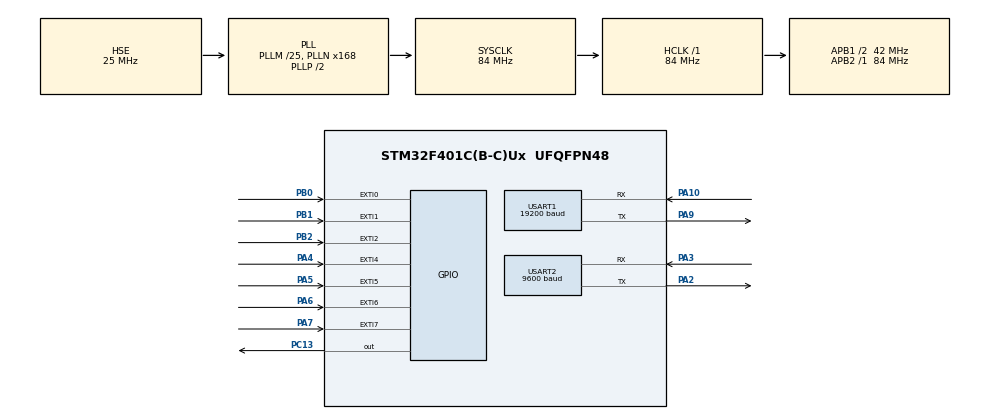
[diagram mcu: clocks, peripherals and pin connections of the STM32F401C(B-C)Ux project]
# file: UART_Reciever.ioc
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Mcu.Family=STM32F4
Mcu.Name=STM32F401C(B-C)Ux
Mcu.Package=UFQFPN48
NVIC.EXTI0_IRQn=true\:0\:0\:false\:false\:true\:true\:true\:true
NVIC.EXTI1_IRQn=true\:0\:0\:false\:false\:true\:true\:true\:true
NVIC.EXTI2_IRQn=true\:0\:0\:false\:false\:true\:true\:true\:true
NVIC.EXTI4_IRQn=true\:0\:0\:false\:false\:true\:true\:true\:true
NVIC.EXTI9_5_IRQn=true\:0\:0\:false\:false\:true\:true\:true\:true
NVIC.PriorityGroup=NVIC_PRIORITYGROUP_4
NVIC.TIM3_IRQn=true\:0\:0\:false\:false\:true\:true\:true\:true
NVIC.USART1_IRQn=true\:0\:0\:false\:false\:true\:true\:true\:true
NVIC.USART2_IRQn=true\:0\:0\:false\:false\:true\:true\:true\:true
PA10.Mode=Asynchronous
PA10.Signal=USART1_RX
PA13.Mode=Serial_Wire
PA13.Signal=SYS_JTMS-SWDIO
PA14.Mode=Serial_Wire
PA14.Signal=SYS_JTCK-SWCLK
PA2.Mode=Asynchronous
PA2.Signal=USART2_TX
PA3.Mode=Asynchronous
PA3.Signal=USART2_RX
PA4.GPIO_ModeDefaultEXTI=GPIO_MODE_IT_RISING_FALLING
PA4.GPIO_PuPd=GPIO_PULLUP
PA4.Signal=GPXTI4
PA5.GPIO_ModeDefaultEXTI=GPIO_MODE_IT_RISING_FALLING
PA5.GPIO_PuPd=GPIO_PULLUP
PA5.Signal=GPXTI5
PA6.GPIO_ModeDefaultEXTI=GPIO_MODE_IT_RISING_FALLING
PA6.GPIO_PuPd=GPIO_PULLUP
PA6.Signal=GPXTI6
PA7.GPIO_ModeDefaultEXTI=GPIO_MODE_IT_RISING_FALLING
PA7.GPIO_PuPd=GPIO_PULLUP
PA7.Signal=GPXTI7
PA9.Mode=Asynchronous
PA9.Signal=USART1_TX
PB0.GPIO_ModeDefaultEXTI=GPIO_MODE_IT_RISING_FALLING
PB0.GPIO_PuPd=GPIO_PULLUP
PB0.Signal=GPXTI0
PB1.GPIO_ModeDefaultEXTI=GPIO_MODE_IT_RISING_FALLING
PB1.GPIO_PuPd=GPIO_PULLUP
PB1.Signal=GPXTI1
PB2.GPIO_ModeDefaultEXTI=GPIO_MODE_IT_RISING_FALLING
PB2.GPIO_PuPd=GPIO_PULLUP
PB2.Signal=GPXTI2
PC13-ANTI_TAMP.Signal=GPIO_Output
PC14-OSC32_IN.Mode=LSE-External-Oscillator
PC14-OSC32_IN.Signal=RCC_OSC32_IN
PC15-OSC32_OUT.Mode=LSE-External-Oscillator
PC15-OSC32_OUT.Signal=RCC_OSC32_OUT
PH0\ -\ OSC_IN.Mode=HSE-External-Oscillator
PH0\ -\ OSC_IN.Signal=RCC_OSC_IN
PH1\ -\ OSC_OUT.Mode=HSE-External-Oscillator
PH1\ -\ OSC_OUT.Signal=RCC_OSC_OUT
ProjectManager.HeapSize=0x200
ProjectManager.StackSize=0x400
ProjectManager.TargetToolchain=STM32CubeIDE
RCC.48MHZClocksFreq_Value=42000000
RCC.AHBFreq_Value=84000000
RCC.APB1CLKDivider=RCC_HCLK_DIV2
RCC.APB1Freq_Value=42000000
RCC.APB1TimFreq_Value=84000000
RCC.APB2Freq_Value=84000000
RCC.APB2TimFreq_Value=84000000
RCC.CortexFreq_Value=84000000
RCC.HCLKFreq_Value=84000000
RCC.HSE_VALUE=25000000
RCC.HSI_VALUE=16000000
RCC.PLLM=25
RCC.PLLN=168
RCC.PLLSourceVirtual=RCC_PLLSOURCE_HSE
RCC.RCC_RTC_Clock_SourceVirtual=RCC_RTCCLKSOURCE_LSE
RCC.SYSCLKFreq_VALUE=84000000
RCC.SYSCLKSource=RCC_SYSCLKSOURCE_PLLCLK
RCC.VCOOutputFreq_Value=168000000
RTC.AsynchPrediv=127
RTC.Date=11
RTC.Format=RTC_FORMAT_BIN
RTC.Hours=14
RTC.Minutes=52
RTC.Month=RTC_MONTH_JANUARY
RTC.SynchPrediv=255
RTC.WeekDay=RTC_WEEKDAY_THURSDAY
RTC.Year=24
STMicroelectronics.X-CUBE-EEPRMA1.4.2.0.EEPROMCcBoardOoPartJjM24JjM24XX=true
TIM3.Period=50
TIM3.Prescaler=83
USART1.BaudRate=19200
USART1.Mode=MODE_TX_RX
USART1.VirtualMode=VM_ASYNC
USART2.BaudRate=9600
USART2.VirtualMode=VM_ASYNC
VP_RTC_VS_RTC_Activate.Mode=RTC_Enabled
VP_RTC_VS_RTC_Calendar.Mode=RTC_Calendar
VP_STMicroelectronics.X-CUBE-EEPRMA1_VS_BoardOoPartJjEEPROM_4.2.0_4.2.0.Mode=BoardOoPartJjEEPROM
VP_TIM3_VS_ClockSourceINT.Mode=Internal
board=custom

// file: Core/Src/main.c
/* USER CODE BEGIN Header */
/**
 ******************************************************************************
 * @file           : main.c
 * @brief          : Main program body
 ******************************************************************************
 * @attention
 *
 * Copyright (c) 2022 STMicroelectronics.
 * All rights reserved.
 *
 * This software is licensed under terms that can be found in the LICENSE file
 * in the root directory of this software component.
 * If no LICENSE file comes with this software, it is provided AS-IS.
 *
 ******************************************************************************
 */
/* USER CODE END Header */
#include "main.h"

/* USER CODE BEGIN Includes */
#include "mb.h"
#include "mbport.h"
#include "mt_port.h"
#include "errno.h"
#include "mbutils.h"

/* USER CODE END Includes */

/* USER CODE BEGIN PD */
#define REG_INPUT_START 1
#define REG_INPUT_NREGS 8

#define REG_COILS_START 2
#define REG_COILS_NREGS 32

#define REG_DISCRETE_START 2
#define REG_DISCRETE_NREGS 32

#define REG_HOLDING_START 1
#define REG_HOLDING_NREGS 7
/* USER CODE END PD */

RTC_HandleTypeDef hrtc;

TIM_HandleTypeDef htim3;

UART_HandleTypeDef huart1;
UART_HandleTypeDef huart2;

/* USER CODE BEGIN PV */
extern __IO uint32_t uwTick;
//static USHORT usRegInputStart = REG_INPUT_START;
//static USHORT usRegInputBuf[REG_INPUT_NREGS] = {'M', 'o', 'd', 'b', 'u', 's', 0, 0};

static UCHAR usRegCoilStart = REG_COILS_START;
static UCHAR usRegCoilBuf[REG_COILS_NREGS / 8];

static UCHAR usRegDiscreteStart = REG_DISCRETE_START;
static UCHAR usRegDiscreteBuf[REG_DISCRETE_NREGS/ 8];

static USHORT usRegHoldingStart = REG_HOLDING_START;
static USHORT usRegHoldingBuf[REG_HOLDING_NREGS];
int a = 0;

uint8_t argv[2];
uint32_t argc;

RTC_TimeTypeDef sTime;
RTC_DateTypeDef sDate;
uint8_t rdy_set_time = 0;
//static bool running = true;

/* USER CODE END PV */

void SystemClock_Config(void);
static void MX_GPIO_Init(void);
static void MX_USART1_UART_Init(void);
static void MX_TIM3_Init(void);
static void MX_USART2_UART_Init(void);
static void MX_RTC_Init(void);

int main(void)
{

  /* MCU Configuration--------------------------------------------------------*/

  /* Reset of all peripherals, Initializes the Flash interface and the Systick. */
  HAL_Init();

  /* Configure the system clock */
  SystemClock_Config();

  /* Initialize all configured peripherals */
  MX_GPIO_Init();
  MX_USART1_UART_Init();
  MX_TIM3_Init();
  MX_USART2_UART_Init();
  MX_RTC_Init();
  /* USER CODE BEGIN 2 */
	MT_PORT_SetTimerModule(&htim3);
	MT_PORT_SetUartModule(&huart1);
	eMBErrorCode eStatus;
	eStatus = eMBInit(MB_RTU, 0x0A, 0, 19200, MB_PAR_NONE);
	eStatus = eMBEnable();
	if (eStatus != MB_ENOERR)
	{
		// Error handling
	}

  /* USER CODE END 2 */

  /* Infinite loop */
	while (1)
	{

    /* USER CODE BEGIN 3 */
		eMBPoll();
//		usRegInputBuf[REG_INPUT_NREGS - 2] =  HAL_GetTick() / 1000;
//		usRegInputBuf[REG_INPUT_NREGS - 1] =  HAL_GetTick();
		HAL_RTC_GetTime(&hrtc, &sTime, RTC_FORMAT_BIN);
		HAL_RTC_GetDate(&hrtc, &sDate, RTC_FORMAT_BIN);

	}

  /* USER CODE END 3 */
}

void SystemClock_Config(void)
{
  RCC_OscInitTypeDef RCC_OscInitStruct = {0};
  RCC_ClkInitTypeDef RCC_ClkInitStruct = {0};

  /** Configure the main internal regulator output voltage
  */
  __HAL_RCC_PWR_CLK_ENABLE();
  __HAL_PWR_VOLTAGESCALING_CONFIG(PWR_REGULATOR_VOLTAGE_SCALE2);

  /** Initializes the RCC Oscillators according to the specified parameters
  * in the RCC_OscInitTypeDef structure.
  */
  RCC_OscInitStruct.OscillatorType = RCC_OSCILLATORTYPE_HSE|RCC_OSCILLATORTYPE_LSE;
  RCC_OscInitStruct.HSEState = RCC_HSE_ON;
  RCC_OscInitStruct.LSEState = RCC_LSE_ON;
  RCC_OscInitStruct.PLL.PLLState = RCC_PLL_ON;
  RCC_OscInitStruct.PLL.PLLSource = RCC_PLLSOURCE_HSE;
  RCC_OscInitStruct.PLL.PLLM = 25;
  RCC_OscInitStruct.PLL.PLLN = 168;
  RCC_OscInitStruct.PLL.PLLP = RCC_PLLP_DIV2;
  RCC_OscInitStruct.PLL.PLLQ = 4;
  if (HAL_RCC_OscConfig(&RCC_OscInitStruct) != HAL_OK)
  {
    Error_Handler();
  }

  /** Initializes the CPU, AHB and APB buses clocks
  */
  RCC_ClkInitStruct.ClockType = RCC_CLOCKTYPE_HCLK|RCC_CLOCKTYPE_SYSCLK
                              |RCC_CLOCKTYPE_PCLK1|RCC_CLOCKTYPE_PCLK2;
  RCC_ClkInitStruct.SYSCLKSource = RCC_SYSCLKSOURCE_PLLCLK;
  RCC_ClkInitStruct.AHBCLKDivider = RCC_SYSCLK_DIV1;
  RCC_ClkInitStruct.APB1CLKDivider = RCC_HCLK_DIV2;
  RCC_ClkInitStruct.APB2CLKDivider = RCC_HCLK_DIV1;

  if (HAL_RCC_ClockConfig(&RCC_ClkInitStruct, FLASH_LATENCY_2) != HAL_OK)
  {
    Error_Handler();
  }
}

static void MX_RTC_Init(void)
{

  RTC_TimeTypeDef sTime = {0};
  RTC_DateTypeDef sDate = {0};

  /** Initialize RTC Only
  */
  hrtc.Instance = RTC;
  hrtc.Init.HourFormat = RTC_HOURFORMAT_24;
  hrtc.Init.AsynchPrediv = 127;
  hrtc.Init.SynchPrediv = 255;
  hrtc.Init.OutPut = RTC_OUTPUT_DISABLE;
  hrtc.Init.OutPutPolarity = RTC_OUTPUT_POLARITY_HIGH;
  hrtc.Init.OutPutType = RTC_OUTPUT_TYPE_OPENDRAIN;
  if (HAL_RTC_Init(&hrtc) != HAL_OK)
  {
    Error_Handler();
  }

  /** Initialize RTC and set the Time and Date
  */
  sTime.Hours = 14;
  sTime.Minutes = 52;
  sTime.Seconds = 0;
  sTime.DayLightSaving = RTC_DAYLIGHTSAVING_NONE;
  sTime.StoreOperation = RTC_STOREOPERATION_RESET;
  if (HAL_RTC_SetTime(&hrtc, &sTime, RTC_FORMAT_BIN) != HAL_OK)
  {
    Error_Handler();
  }
  sDate.WeekDay = RTC_WEEKDAY_THURSDAY;
  sDate.Month = RTC_MONTH_JANUARY;
  sDate.Date = 11;
  sDate.Year = 24;

  if (HAL_RTC_SetDate(&hrtc, &sDate, RTC_FORMAT_BIN) != HAL_OK)
  {
    Error_Handler();
  }

}

static void MX_TIM3_Init(void)
{

  TIM_ClockConfigTypeDef sClockSourceConfig = {0};
  TIM_MasterConfigTypeDef sMasterConfig = {0};

  htim3.Instance = TIM3;
  htim3.Init.Prescaler = 83;
  htim3.Init.CounterMode = TIM_COUNTERMODE_UP;
  htim3.Init.Period = 50;
  htim3.Init.ClockDivision = TIM_CLOCKDIVISION_DIV1;
  htim3.Init.AutoReloadPreload = TIM_AUTORELOAD_PRELOAD_DISABLE;
  if (HAL_TIM_Base_Init(&htim3) != HAL_OK)
  {
    Error_Handler();
  }
  sClockSourceConfig.ClockSource = TIM_CLOCKSOURCE_INTERNAL;
  if (HAL_TIM_ConfigClockSource(&htim3, &sClockSourceConfig) != HAL_OK)
  {
    Error_Handler();
  }
  sMasterConfig.MasterOutputTrigger = TIM_TRGO_RESET;
  sMasterConfig.MasterSlaveMode = TIM_MASTERSLAVEMODE_DISABLE;
  if (HAL_TIMEx_MasterConfigSynchronization(&htim3, &sMasterConfig) != HAL_OK)
  {
    Error_Handler();
  }

}

static void MX_USART1_UART_Init(void)
{

  huart1.Instance = USART1;
  huart1.Init.BaudRate = 19200;
  huart1.Init.WordLength = UART_WORDLENGTH_8B;
  huart1.Init.StopBits = UART_STOPBITS_1;
  huart1.Init.Parity = UART_PARITY_NONE;
  huart1.Init.Mode = UART_MODE_TX_RX;
  huart1.Init.HwFlowCtl = UART_HWCONTROL_NONE;
  huart1.Init.OverSampling = UART_OVERSAMPLING_16;
  if (HAL_UART_Init(&huart1) != HAL_OK)
  {
    Error_Handler();
  }

}

static void MX_USART2_UART_Init(void)
{

  huart2.Instance = USART2;
  huart2.Init.BaudRate = 9600;
  huart2.Init.WordLength = UART_WORDLENGTH_8B;
  huart2.Init.StopBits = UART_STOPBITS_1;
  huart2.Init.Parity = UART_PARITY_NONE;
  huart2.Init.Mode = UART_MODE_TX_RX;
  huart2.Init.HwFlowCtl = UART_HWCONTROL_NONE;
  huart2.Init.OverSampling = UART_OVERSAMPLING_16;
  if (HAL_UART_Init(&huart2) != HAL_OK)
  {
    Error_Handler();
  }

}

static void MX_GPIO_Init(void)
{
  GPIO_InitTypeDef GPIO_InitStruct = {0};

  /* GPIO Ports Clock Enable */
  __HAL_RCC_GPIOC_CLK_ENABLE();
  __HAL_RCC_GPIOH_CLK_ENABLE();
  __HAL_RCC_GPIOA_CLK_ENABLE();
  __HAL_RCC_GPIOB_CLK_ENABLE();

  /*Configure GPIO pin Output Level */
  HAL_GPIO_WritePin(GPIOC, GPIO_PIN_13, GPIO_PIN_RESET);

  /*Configure GPIO pin : PC13 */
  GPIO_InitStruct.Pin = GPIO_PIN_13;
  GPIO_InitStruct.Mode = GPIO_MODE_OUTPUT_PP;
  GPIO_InitStruct.Pull = GPIO_NOPULL;
  GPIO_InitStruct.Speed = GPIO_SPEED_FREQ_LOW;
  HAL_GPIO_Init(GPIOC, &GPIO_InitStruct);

  /*Configure GPIO pins : PA4 PA5 PA6 PA7 */
  GPIO_InitStruct.Pin = GPIO_PIN_4|GPIO_PIN_5|GPIO_PIN_6|GPIO_PIN_7;
  GPIO_InitStruct.Mode = GPIO_MODE_IT_RISING_FALLING;
  GPIO_InitStruct.Pull = GPIO_PULLUP;
  HAL_GPIO_Init(GPIOA, &GPIO_InitStruct);

  /*Configure GPIO pins : PB0 PB1 PB2 */
  GPIO_InitStruct.Pin = GPIO_PIN_0|GPIO_PIN_1|GPIO_PIN_2;
  GPIO_InitStruct.Mode = GPIO_MODE_IT_RISING_FALLING;
  GPIO_InitStruct.Pull = GPIO_PULLUP;
  HAL_GPIO_Init(GPIOB, &GPIO_InitStruct);

  /* EXTI interrupt init*/
  HAL_NVIC_SetPriority(EXTI0_IRQn, 0, 0);
  HAL_NVIC_EnableIRQ(EXTI0_IRQn);

  HAL_NVIC_SetPriority(EXTI1_IRQn, 0, 0);
  HAL_NVIC_EnableIRQ(EXTI1_IRQn);

  HAL_NVIC_SetPriority(EXTI2_IRQn, 0, 0);
  HAL_NVIC_EnableIRQ(EXTI2_IRQn);

  HAL_NVIC_SetPriority(EXTI4_IRQn, 0, 0);
  HAL_NVIC_EnableIRQ(EXTI4_IRQn);

  HAL_NVIC_SetPriority(EXTI9_5_IRQn, 0, 0);
  HAL_NVIC_EnableIRQ(EXTI9_5_IRQn);

}

/* USER CODE BEGIN 4 */
void HAL_GPIO_EXTI_Callback(uint16_t GPIO_Pin)
{
	usRegDiscreteBuf[0] =(GPIOA->IDR & GPIO_IDR_ID7) |(GPIOA->IDR & GPIO_IDR_ID6)|(GPIOA->IDR & GPIO_IDR_ID5)|(GPIOA->IDR & GPIO_IDR_ID4)|(GPIOB->IDR & GPIO_IDR_ID2)|(GPIOB->IDR & GPIO_IDR_ID1)|(GPIOB->IDR & GPIO_IDR_ID0);
	a = ((GPIOB->IDR & GPIO_IDR_ID0) | (GPIOB->IDR & GPIO_IDR_ID1) | (GPIOB->IDR & GPIO_IDR_ID2) | (GPIOA->IDR & GPIO_IDR_ID3)
| (GPIOA->IDR & GPIO_IDR_ID4) | (GPIOA->IDR & GPIO_IDR_ID5) | (GPIOA->IDR & GPIO_IDR_ID6) | (GPIOA->IDR & GPIO_IDR_ID7));
}
/*----------------------------------------------------------------------------*/
eMBErrorCode eMBRegInputCB(UCHAR * pucRegBuffer, USHORT usAddress, USHORT usNRegs)
{
	return MB_ENOREG;
}

/*----------------------------------------------------------------------------*/
eMBErrorCode eMBRegHoldingCB(UCHAR * pucRegBuffer, USHORT usAddress, USHORT usNRegs,
		eMBRegisterMode eMode)
{
	eMBErrorCode eStatus = MB_ENOERR;
	short iNRegs = ( short )usNRegs;
	int iRegIndex = 0;

	if(( usAddress >= REG_HOLDING_START ) &&( usAddress + usNRegs <= REG_HOLDING_START + REG_HOLDING_NREGS ))
	{
		iRegIndex = (int)(usAddress - usRegHoldingStart);
		switch ( eMode )
		{
		case MB_REG_READ:
			usRegHoldingBuf[REG_HOLDING_NREGS - 7] = sDate.Year;
			usRegHoldingBuf[REG_HOLDING_NREGS - 6] = sDate.Month;
			usRegHoldingBuf[REG_HOLDING_NREGS - 5] = sDate.Date;
			usRegHoldingBuf[REG_HOLDING_NREGS - 4] = sTime.Hours;
			usRegHoldingBuf[REG_HOLDING_NREGS - 3] = sTime.Minutes;
			usRegHoldingBuf[REG_HOLDING_NREGS - 2] = sTime.Seconds;
			usRegHoldingBuf[REG_HOLDING_NREGS - 1] = ((sTime.Seconds)*1000) + (999 - ((sTime.SubSeconds)*3.91)+3);
			while(iNRegs > 0)
			{
				*pucRegBuffer++ = (usRegHoldingBuf[iRegIndex] >> 8);
				*pucRegBuffer++ = (usRegHoldingBuf[iRegIndex] & 0xFF);

				iRegIndex++;
				iNRegs--;
			}
		case MB_REG_WRITE:
			while( iNRegs > 0 )
			{
				usRegHoldingBuf[iRegIndex] = *pucRegBuffer++ << 8;
				usRegHoldingBuf[iRegIndex] |= *pucRegBuffer++;
				iRegIndex++;
				iNRegs--;
				rdy_set_time = 1;
			}
			if(rdy_set_time == 1)
			{
				__HAL_RTC_WRITEPROTECTION_DISABLE(&hrtc);
				sTime.Hours = usRegHoldingBuf[REG_HOLDING_NREGS - 4];
				sTime.Minutes = usRegHoldingBuf[REG_HOLDING_NREGS - 3];
				sTime.Seconds = usRegHoldingBuf[REG_HOLDING_NREGS - 2];
				sTime.DayLightSaving = RTC_DAYLIGHTSAVING_NONE;
				sTime.StoreOperation = RTC_STOREOPERATION_RESET;
				if (HAL_RTC_SetTime(&hrtc, &sTime, RTC_FORMAT_BIN) != HAL_OK)
				{
					Error_Handler();
				}
				sDate.WeekDay = RTC_WEEKDAY_THURSDAY;
				sDate.Date = usRegHoldingBuf[REG_HOLDING_NREGS - 5];
				sDate.Month = usRegHoldingBuf[REG_HOLDING_NREGS - 6];
				sDate.Year = usRegHoldingBuf[REG_HOLDING_NREGS - 7];

				if (HAL_RTC_SetDate(&hrtc, &sDate, RTC_FORMAT_BIN) != HAL_OK)
				{
					Error_Handler();
				}
				__HAL_RTC_WRITEPROTECTION_ENABLE(&hrtc);
				rdy_set_time = 0;
			}
			break;
		}
	}
	else
	{
		eStatus = MB_ENOREG;
	}
	return eStatus;
}

/*----------------------------------------------------------------------------*/
eMBErrorCode eMBRegCoilsCB(UCHAR * pucRegBuffer, USHORT usAddress, USHORT usNCoils,
		eMBRegisterMode eMode)
{

	eMBErrorCode    eStatus = MB_ENOERR;
	short           iNCoils = ( short )usNCoils;
	unsigned short  iRegIndex;

	if( ( usAddress >= REG_COILS_START ) &&( usAddress + usNCoils <= REG_COILS_START + REG_COILS_NREGS ) )
	{
		iRegIndex = ( unsigned short )(usAddress - usRegCoilStart);
		switch ( eMode )
		{
		case MB_REG_READ:
			while( iNCoils > 0 )
			{
				*pucRegBuffer++ = xMBUtilGetBits(usRegCoilBuf,iRegIndex,(unsigned char)( iNCoils >8 ? 8 :iNCoils ) );
				iNCoils -= 8;
				iRegIndex += 8;
			}
			break;
		case MB_REG_WRITE:
			while( iNCoils > 0 )
			{
				 xMBUtilSetBits( usRegCoilBuf, iRegIndex,( unsigned char )( iNCoils > 8 ? 8 : iNCoils ),*pucRegBuffer++ );
				 iRegIndex += 8;
				 iNCoils -= 8;
			}
			break;
		}
	}
	else
	{
		eStatus = MB_ENOREG;
	}
	return eStatus;
}

/*----------------------------------------------------------------------------*/
eMBErrorCode eMBRegDiscreteCB(UCHAR * pucRegBuffer, USHORT usAddress, USHORT usNDiscrete)
{
	eMBErrorCode    eStatus = MB_ENOERR;
	short           iNCoils = ( short )usNDiscrete;
	unsigned short  iRegIndex;

	if( ( usAddress >= REG_DISCRETE_START ) &&( usAddress + usNDiscrete <= REG_DISCRETE_START + REG_DISCRETE_NREGS ) )
	{
		iRegIndex = ( unsigned short )(usAddress - usRegDiscreteStart);
		while( iNCoils > 0 )
		{
			*pucRegBuffer++ = xMBUtilGetBits( usRegDiscreteBuf, iRegIndex,( unsigned char )( iNCoils >8 ? 8 :iNCoils ) );
			iNCoils -= 8;
			iRegIndex += 8;
		}
	}
	else
	{
		eStatus = MB_ENOREG;
	}
	return eStatus;

}

/*----------------------------------------------------------------------------*/

/* USER CODE END 4 */

void Error_Handler(void)
{
	__disable_irq();
	while (1)
	{
	}
}
